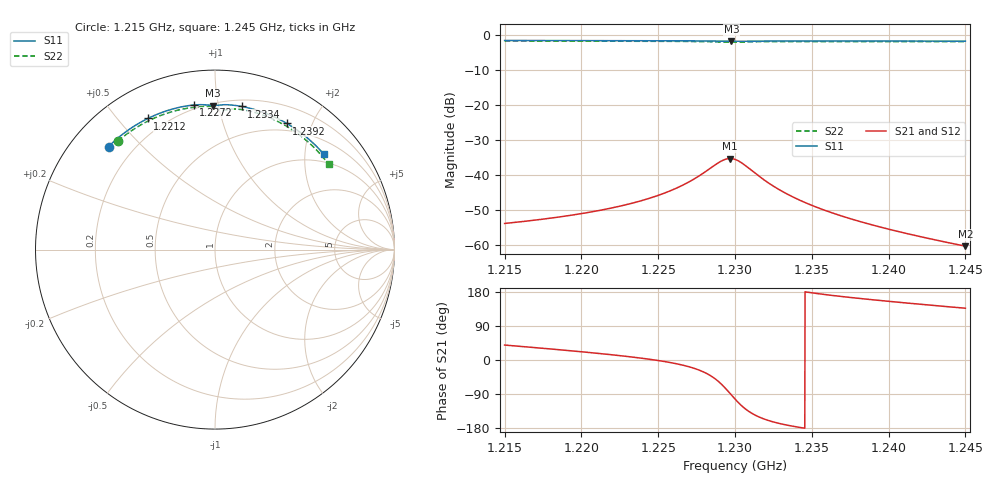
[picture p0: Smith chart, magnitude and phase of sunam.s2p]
! Created Tue Mar 24 16:12:56 2020
# hz S db R 50
! 2 Port Network Data from SP1.SP block
! freq  dbS11  angS11  dbS21  angS21  dbS12  angS12  dbS22  angS22
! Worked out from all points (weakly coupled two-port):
!   1603 points, 1.215 GHz to 1.245 GHz, reference 50 ohm
!   highest |S21| = -35.41 dB at 1.2297 GHz (marker M1); lowest = -60.5 dB at 1.245 GHz (marker M2)
!   lowest |S11| = -1.9 dB at 1.2298 GHz (marker M3), VSWR 9.12, Z = 10.7 + j48.2 ohm
!   |S11| at or under -10 dB: nowhere
!   |S22| runs from -2.2 to -1.8 dB; largest |S21 - S12| = 0
!   S11 on the Smith chart (normalised r, x): 1.215 GHz: 0.11, +0.40; 1.2212 GHz: 0.13, +0.60; 1.2272 GHz: 0.18, +0.85; 1.2334 GHz: 0.25, +1.17; 1.2392 GHz: 0.40, +1.65; 1.245 GHz: 0.80, +2.42
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1.215e9  -1.67 135.9  -53.97 39.4  -53.97 39.4  -1.82 131.8
1.217605e9  -1.69 128.0  -52.68 30.5  -52.68 30.5  -1.84 124.0
1.220003e9  -1.71 120.8  -51.16 21.8  -51.16 21.8  -1.86 116.6
1.221184e9  -1.71 117.1  -50.24 17.1  -50.24 17.1  -1.87 113.0
1.223263e9  -1.73 110.7  -48.23 8.0  -48.23 8.0  -1.89 106.5
1.225006e9  -1.75 105.3  -45.94 -1.4  -45.94 -1.4  -1.91 101.0
1.226168e9  -1.76 101.6  -43.92 -9.7  -43.92 -9.7  -1.93 97.2
1.227198e9  -1.79 98.3  -41.62 -20.1  -41.62 -20.1  -1.96 93.9
1.229035e9  -1.88 92.6  -36.32 -60.7  -36.32 -60.7  -2.12 88.1
1.229391e9  -1.90 91.6  -35.62 -75.2  -35.62 -75.2  -2.16 87.3
1.229691e9  -1.91 90.9  -35.41 -88.9  -35.41 -88.9  -2.18 86.7
1.229766e9  -1.91 90.7  -35.43 -92.4  -35.43 -92.4  -2.18 86.5
1.230009e9  -1.91 90.1  -35.67 -103.5  -35.67 -103.5  -2.17 86.0
1.230515e9  -1.88 88.7  -36.91 -123.7  -36.91 -123.7  -2.12 84.8
1.232239e9  -1.82 83.2  -42.57 -160.4  -42.57 -160.4  -2.00 79.2
1.233401e9  -1.82 79.4  -45.58 -172.0  -45.58 -172.0  -1.99 75.3
1.235012e9  -1.82 74.2  -48.82 177.2  -48.82 177.2  -1.99 70.0
1.236923e9  -1.83 68.0  -51.82 167.6  -51.82 167.6  -1.99 63.7
1.239247e9  -1.84 60.4  -54.76 157.8  -54.76 157.8  -2.00 56.0
1.240015e9  -1.85 57.8  -55.62 154.8  -55.62 154.8  -2.01 53.5
1.242414e9  -1.86 49.9  -58.08 145.8  -58.08 145.8  -2.02 45.5
1.245e9  -1.87 41.4  -60.47 136.6  -60.47 136.6  -2.03 36.9
